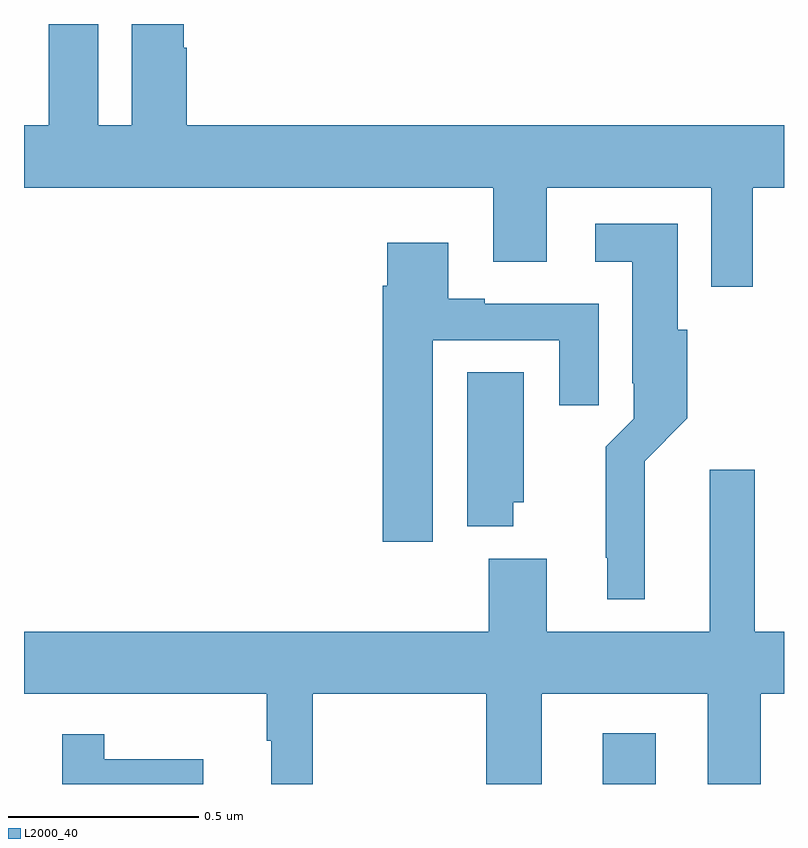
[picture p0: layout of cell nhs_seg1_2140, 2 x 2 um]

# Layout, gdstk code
import gdstk
lib = gdstk.Library(unit=1e-6, precision=1e-09)
def R(c, l, rs):  # rectangles x0, y0, x1, y1
    for r in rs: c.add(gdstk.rectangle(r[:2], r[2:], *l))
def P(c, l, *ps):  # polygons
    for p in ps: c.add(gdstk.Polygon(p, *l))
L2000_40 = (2000, 40)

nhs_seg1_2140 = lib.new_cell('nhs_seg1_2140')
R(nhs_seg1_2140, L2000_40, [(139.523,514.199,139.663,514.333)])
P(nhs_seg1_2140, L2000_40, [(138.284,516.199),(138.284,515.932),(138.196,515.932),(138.196,516.199),(138.065,516.199),(138.065,515.932),(138,515.932),(138,515.768),(139.235,515.768),(139.235,515.574),(139.375,515.574),(139.375,515.768),(139.809,515.768),(139.809,515.508),(139.918,515.508),(139.918,515.768),(140,515.768),(140,515.932),(138.428,515.932),(138.428,516.137),(138.421,516.137),(138.421,516.199)],
  [(139.633,515.048),(139.746,515.161),(139.746,515.394),(139.72,515.394),(139.72,515.674),(139.503,515.674),(139.503,515.573),(139.601,515.573),(139.601,515.254),(139.605,515.254),(139.605,515.16),(139.531,515.086),(139.531,514.795),(139.535,514.795),(139.535,514.685),(139.633,514.685)],
  [(139.075,515.367),(139.409,515.367),(139.409,515.196),(139.513,515.196),(139.513,515.463),(139.213,515.463),(139.213,515.476),(139.117,515.476),(139.117,515.623),(138.956,515.623),(138.956,515.51),(138.944,515.51),(138.944,514.836),(139.075,514.836)],
  [(139.288,514.941),(139.315,514.941),(139.315,515.282),(139.166,515.282),(139.166,514.877),(139.288,514.877)],
  [(138.76,514.436),(139.216,514.436),(139.216,514.199),(139.363,514.199),(139.363,514.436),(139.799,514.436),(139.799,514.199),(139.939,514.199),(139.939,514.436),(140,514.436),(140,514.6),(139.923,514.6),(139.923,515.026),(139.805,515.026),(139.805,514.6),(139.375,514.6),(139.375,514.792),(139.223,514.792),(139.223,514.6),(138,514.6),(138,514.436),(138.639,514.436),(138.639,514.313),(138.65,514.313),(138.65,514.199),(138.76,514.199)],
  [(138.472,514.264),(138.211,514.264),(138.211,514.33),(138.101,514.33),(138.101,514.199),(138.472,514.199)])

lib.write_gds('nhs_seg1_2140.gds')
